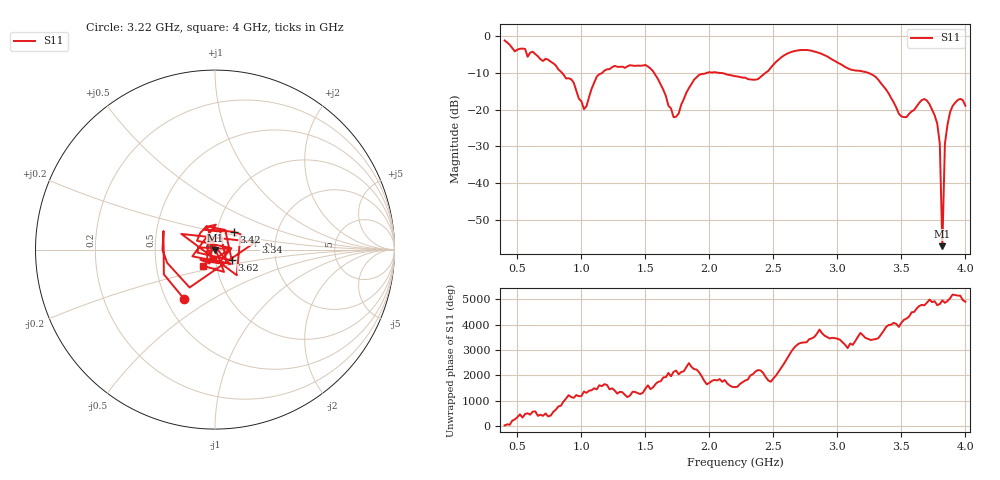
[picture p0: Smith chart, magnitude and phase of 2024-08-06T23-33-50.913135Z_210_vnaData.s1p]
!Created with skrf (http://scikit-rf.org).
# Hz S RI R 50.0
!freq ReS11 ImS11
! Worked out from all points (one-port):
!   181 points, 400 MHz to 4 GHz, reference 50 ohm
!   lowest |S11| = -57.2 dB at 3.82 GHz (marker M1), VSWR 1.00, Z = 50 - j0.136 ohm
!   |S11| at or under -10 dB: 1.568 GHz to 1.98 GHz (412.5 MHz wide, 23.3 % of centre); 2.072 GHz to 2.439 GHz (366.6 MHz wide, 16.3 % of centre); 3.241 GHz to end of sweep (the widest 3 of 4)
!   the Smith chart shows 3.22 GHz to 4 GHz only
!   S11 on the Smith chart (normalised r, x): 3.22 GHz: 0.62, -0.38; 3.34 GHz: 1.57, +0.14; 3.42 GHz: 1.20, +0.24; 3.62 GHz: 1.20, -0.14; 4 GHz: 0.86, -0.15
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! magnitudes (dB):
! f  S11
! 400 MHz  -1.2
! 860 MHz  -10.5
! 940 MHz  -12.7
! 1.02 GHz  -19.9
! 1.12 GHz  -11.0
! 1.3 GHz  -8.4
! 1.54 GHz  -8.9
! 1.72 GHz  -22.1
! 1.76 GHz  -21.1
! 1.92 GHz  -10.6
! 2.2 GHz  -10.9
! 2.38 GHz  -11.7
! 2.66 GHz  -4.1
! 3.1 GHz  -9.1
! 3.22 GHz  -9.8
! 3.34 GHz  -12.8
! 3.42 GHz  -16.9
! 3.5 GHz  -21.9
! 3.56 GHz  -21.2
! 3.62 GHz  -19.1
! 3.7 GHz  -17.6
! 3.78 GHz  -23.8
! 3.8 GHz  -29.3
! 3.82 GHz  -57.2
! 3.84 GHz  -29.3
! 3.86 GHz  -24.2
! 3.92 GHz  -18.1
! 4 GHz  -19.0
